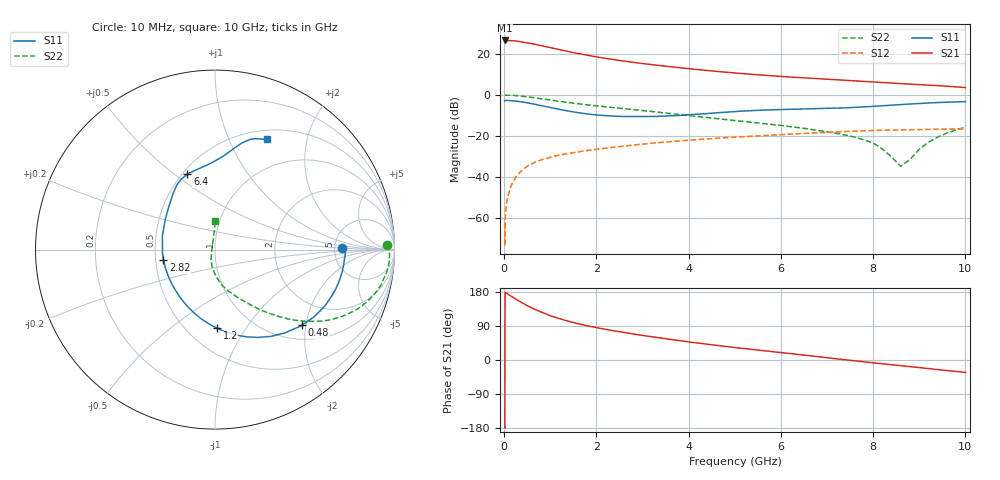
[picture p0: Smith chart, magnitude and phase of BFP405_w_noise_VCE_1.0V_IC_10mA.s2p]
! Infineon Technologies  Discrete & RF Semiconductors
! BFP405
! VCE =  1.0 V,  IC =  10 mA
! Common Emitter S-Parameters:  Jan 2016
# GHz  S  MA  R  50
!  f  S11  S21  S12  S22
! GHz  MAG  ANG  MAG  ANG  MAG  ANG  MAG  ANG
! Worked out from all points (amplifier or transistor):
!   233 points, 10 MHz to 10 GHz, reference 50 ohm
!   highest |S21| = 26.5 dB at 10 MHz (marker M1)
!   |S21| within 3 dB of that: start of sweep to 897.2 MHz
!   unconditionally stable (mu >= 1): start of sweep to 19.16 MHz; 2.385 GHz to end of sweep
!   at 200 MHz: K = 0.16, MSG = 34.3 dB, |S12| = -42.3 dB
!   at 1.74 GHz: K = 0.82, MSG = 23.5 dB, |S12| = -27.5 dB
!   at 10 GHz: K = 1.42, MAG = 6.2 dB, |S12| = -16.7 dB
!   lowest NFmin = 1.62 dB at 900 MHz
!   S11 on the Smith chart (normalised r, x): 10 MHz: 5.88, +0.21; 480 MHz: 1.33, -1.90; 1.2 GHz: 0.69, -0.75; 2.82 GHz: 0.55, -0.07; 6.4 GHz: 0.53, +0.56; 10 GHz: 0.61, +1.39
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0.01  0.7096 0.7  21.13 -177.2  0.0007 -62.1  0.96 1.6
0.015  0.718 -0.4  21.1 -179.5  0.0002 35.1  0.964 0.7
0.02  0.7266 -1.5  21.11 178.2  0.0008 95.3  0.9683 -0.2
0.1  0.7208 -9.0  21.1 172.1  0.0039 88.2  0.9735 -3.9
0.2  0.7086 -17.7  20.71 164.6  0.0077 82.5  0.9623 -8.3
0.36  0.6748 -31.3  19.7 152.9  0.0133 75.6  0.9287 -14.7
0.48  0.6412 -40.9  18.74 144.8  0.0172 71.8  0.8957 -18.8
0.6  0.6056 -50.0  17.64 137.3  0.0206 68.2  0.8596 -22.7
0.8  0.5441 -64.1  15.81 126.4  0.0256 63.6  0.7976 -27.9
1  0.4878 -76.7  14.09 117.0  0.0298 60.1  0.7396 -32.2
1.2  0.4381 -88.6  12.57 109.0  0.0335 57.4  0.6873 -35.6
1.4  0.3976 -100.1  11.26 102.0  0.037 55.4  0.6416 -38.5
1.68  0.3538 -115.0  9.756 93.7  0.0415 53.1  0.5869 -41.9
2.2  0.3078 -141.1  7.708 80.8  0.0495 49.9  0.5067 -46.9
2.82  0.2931 -168.7  6.122 68.3  0.0592 46.2  0.4308 -52.2
3.4  0.2985 168.9  5.111 58.0  0.0684 42.3  0.3678 -57.0
5.1  0.3941 125.7  3.32 31.6  0.0933 30.0  0.2278 -74.4
6.4  0.4466 110.2  2.623 14.2  0.1119 20.4  0.1561 -86.4
6.8  0.455 104.0  2.458 8.9  0.1176 17.2  0.1349 -90.3
8.4  0.556 81.1  1.924 -12.5  0.137 2.3  0.0301 -131.4
8.6  0.5743 79.3  1.868 -15.1  0.1385 0.5  0.0178 -176.4
10  0.6774 64.9  1.492 -32.7  0.1464 -10.4  0.161 89.9
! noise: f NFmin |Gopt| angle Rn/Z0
0.9  1.62  0.2  6  0.32
1.8  1.88  0.14  1  0.29
2.4  2  0.12  4  0.31
3  2.03  0.08  20  0.29
4  2.19  0.05  -72  0.28
5  2.56  0.11  -98  0.28
